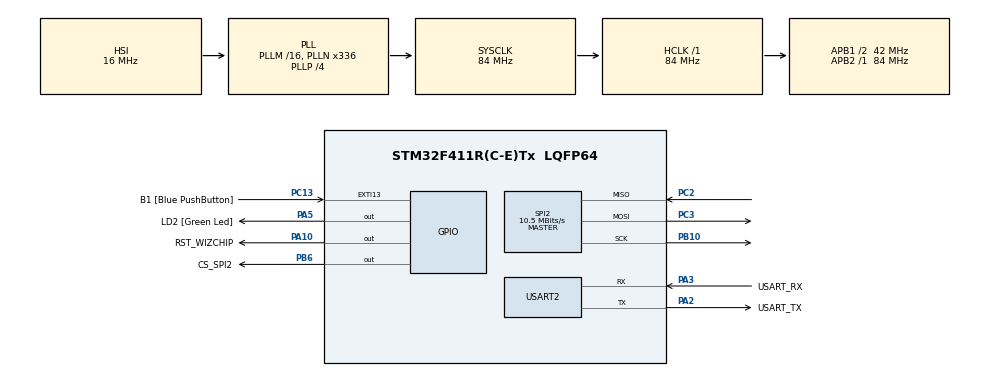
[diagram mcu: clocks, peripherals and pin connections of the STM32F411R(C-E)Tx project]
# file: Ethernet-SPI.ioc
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Mcu.Family=STM32F4
Mcu.Name=STM32F411R(C-E)Tx
Mcu.Package=LQFP64
NVIC.PriorityGroup=NVIC_PRIORITYGROUP_0
PA10.GPIO_Label=RST_WIZCHIP
PA10.Signal=GPIO_Output
PA13.GPIO_Label=TMS
PA13.Mode=Serial_Wire
PA13.Signal=SYS_JTMS-SWDIO
PA14.GPIO_Label=TCK
PA14.Mode=Serial_Wire
PA14.Signal=SYS_JTCK-SWCLK
PA2.GPIO_Label=USART_TX
PA2.Mode=Asynchronous
PA2.Signal=USART2_TX
PA3.GPIO_Label=USART_RX
PA3.Mode=Asynchronous
PA3.Signal=USART2_RX
PA5.GPIO_Label=LD2 [Green Led]
PA5.Signal=GPIO_Output
PB10.Mode=Full_Duplex_Master
PB10.Signal=SPI2_SCK
PB3.GPIO_Label=SWO
PB3.Signal=SYS_JTDO-SWO
PB6.GPIO_Label=CS_SPI2
PB6.PinState=GPIO_PIN_SET
PB6.Signal=GPIO_Output
PC13-ANTI_TAMP.GPIO_Label=B1 [Blue PushButton]
PC13-ANTI_TAMP.GPIO_ModeDefaultEXTI=GPIO_MODE_IT_FALLING
PC13-ANTI_TAMP.Signal=GPXTI13
PC14-OSC32_IN.Mode=LSE-External-Oscillator
PC14-OSC32_IN.Signal=RCC_OSC32_IN
PC15-OSC32_OUT.Mode=LSE-External-Oscillator
PC15-OSC32_OUT.Signal=RCC_OSC32_OUT
PC2.Mode=Full_Duplex_Master
PC2.Signal=SPI2_MISO
PC3.Mode=Full_Duplex_Master
PC3.Signal=SPI2_MOSI
PH0\ -\ OSC_IN.Mode=HSE-External-Clock-Source
PH0\ -\ OSC_IN.Signal=RCC_OSC_IN
PH1\ -\ OSC_OUT.Mode=HSE-External-Clock-Source
PH1\ -\ OSC_OUT.Signal=RCC_OSC_OUT
ProjectManager.HeapSize=0x200
ProjectManager.StackSize=0x400
ProjectManager.TargetToolchain=STM32CubeIDE
RCC.48MHZClocksFreq_Value=84000000
RCC.AHBFreq_Value=84000000
RCC.APB1CLKDivider=RCC_HCLK_DIV2
RCC.APB1Freq_Value=42000000
RCC.APB1TimFreq_Value=84000000
RCC.APB2Freq_Value=84000000
RCC.APB2TimFreq_Value=84000000
RCC.CortexFreq_Value=84000000
RCC.FLatency-AdvancedSettings=FLASH_LATENCY_2
RCC.HCLKFreq_Value=84000000
RCC.HSE_VALUE=8000000
RCC.HSI_VALUE=16000000
RCC.PLLN=336
RCC.PLLP=RCC_PLLP_DIV4
RCC.SYSCLKFreq_VALUE=84000000
RCC.SYSCLKSource=RCC_SYSCLKSOURCE_PLLCLK
RCC.VCOOutputFreq_Value=336000000
SPI2.BaudRatePrescaler=SPI_BAUDRATEPRESCALER_4
SPI2.CalculateBaudRate=10.5 MBits/s
SPI2.Direction=SPI_DIRECTION_2LINES
SPI2.Mode=SPI_MODE_MASTER
SPI2.VirtualType=VM_MASTER
USART2.VirtualMode=VM_ASYNC
VP_IWDG_VS_IWDG.Mode=IWDG_Activate
board=NUCLEO-F411RE

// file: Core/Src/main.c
/* USER CODE BEGIN Header */
/**
  ******************************************************************************
  * @file           : main.c
  * @brief          : Main program body
  ******************************************************************************
  * @attention
  *
  * Copyright (c) 2023 STMicroelectronics.
  * All rights reserved.
  *
  * This software is licensed under terms that can be found in the LICENSE file
  * in the root directory of this software component.
  * If no LICENSE file comes with this software, it is provided AS-IS.
  *
  ******************************************************************************
  */
/* USER CODE END Header */
#include "main.h"
#include "iwdg.h"
#include "spi.h"
#include "usart.h"
#include "gpio.h"

/* USER CODE BEGIN Includes */
#include "wiznet.h"
#include "w5500.h"
#include "socket.h"
#include "wizchip_conf.h"
#include <stdio.h>
#include <string.h>
/* USER CODE END Includes */

void SystemClock_Config(void);

int main(void)
{
  /* USER CODE BEGIN 1 */
	uint8_t mySocket;
	uint8_t memsize[2][8] = {{2,2,2,2,2,2,2,2},{2,2,2,2,2,2,2,2}}; // 2 sockets of 2kb each
	wiz_NetInfo netInfo = {
			.ip = {192,168,1,100},
			.mac = {0xEA, 0x11, 0x22, 0x33, 0x44, 0xEA },
			.sn = {255,255,255,0},
			.gw = {192,168,1,1},
			.dns = {8,8,8,8},
			.dhcp = NETINFO_STATIC
	};

	uint8_t state = 0;
	uint8_t rxBuff[50];
	uint8_t txBuff[50];
	int32_t err_t;
	int32_t dataSize = 0;
	uint16_t port;
	size_t len;
	uint8_t serverStatus;
	intr_kind interrupt;

  /* USER CODE END 1 */

  /* MCU Configuration--------------------------------------------------------*/

  /* Reset of all peripherals, Initializes the Flash interface and the Systick. */
  HAL_Init();

  /* Configure the system clock */
  SystemClock_Config();

  /* Initialize all configured peripherals */
  MX_GPIO_Init();
  MX_USART2_UART_Init();
  MX_SPI2_Init();
  MX_IWDG_Init();
  /* USER CODE BEGIN 2 */
  // Pulse on reset pin
  HAL_GPIO_WritePin(RST_WIZCHIP_GPIO_Port, RST_WIZCHIP_Pin, GPIO_PIN_RESET);
  HAL_Delay(1); //wait 1 ms
  HAL_GPIO_WritePin(RST_WIZCHIP_GPIO_Port, RST_WIZCHIP_Pin, GPIO_PIN_SET);

  // Wizchip functions assignement
  reg_wizchip_cs_cbfunc(wizchip_select, wizchip_deselect);
  reg_wizchip_spi_cbfunc(wizchip_readByte, wizchip_writeByte);
  reg_wizchip_spiburst_cbfunc(wizchip_readBuff, wizchip_writeBuff);

  // Wizchip initialization
  if(ctlwizchip(CW_INIT_WIZCHIP, (void *) memsize) == -1){
  	// Error during initialization
  	printf("WIZCHIP init failed...\r\n");
  	while(1);
  }

  // No errors during initialization
  printf("WIZCHIP initialized...\r\n");

  if(ctlnetwork(CN_SET_NETINFO, (void *)&netInfo) == -1){
  	// Errors
  	while(1);
  }

  // Set interrupt mask for recv
  interrupt = IK_SOCK_1;
  if(ctlwizchip(CW_SET_INTRMASK, (void *)&interrupt) == -1){
  	// Errors
  	while(1);
  }

  HAL_IWDG_Refresh(&hiwdg);

  // Create a socket
  mySocket = socket(1, Sn_MR_TCP, 502, 0);
  if(mySocket != 1){
  	// Error in socket creation
  	while(1);
  }

  // Listen socket for connections
  err_t = listen(mySocket);

  /* USER CODE END 2 */

  /* Infinite loop */
  while (1)
  {

    /* USER CODE BEGIN 3 */
  	// Check for server status
  	serverStatus = getSn_SR(mySocket);

  	switch(state){
  	case 0: // Wait for client connections

  		if(serverStatus == SOCK_ESTABLISHED){
  			HAL_GPIO_WritePin(LD2_GPIO_Port, LD2_Pin, GPIO_PIN_SET);
  			ctlnetwork(CN_GET_NETINFO, (void *) &netInfo);
  			port = getSn_PORT(mySocket);
  			display_netinfo(mySocket, &netInfo, port);
  			//send(mySocket, (uint8_t *)string, len);
  			state++;
  		}
  		break;
  	case 1: // Client has been connected
  		// Check for status
  		if(serverStatus == SOCK_CLOSE_WAIT){
  			// Reinit the connection
  			HAL_GPIO_WritePin(LD2_GPIO_Port, LD2_Pin, GPIO_PIN_RESET);
  			// Close the socket
  			close(mySocket);
  			state++;
  		}

  		// Check for incoming data
  		uint8_t intSocketRegister = getSn_IR(mySocket);
  		// Check for socket 1 RECV interrupt
  		if(intSocketRegister & (1<<2)){
  			// Interrupt occurred
  			dataSize = recv(mySocket, rxBuff, 50);

  			if(dataSize <= 0){
  				// Error
  				break;
  			}

  			memcpy(txBuff, rxBuff, dataSize);
  			if(send(mySocket, txBuff, dataSize) != dataSize){
  				// Something went wrong
  			  break;
  			}

  			// Clear interrupt register
  			intSocketRegister &= (1<<2);
  			setSn_IR(mySocket, intSocketRegister);
  		}

  		break;
  	case 2:
  		// Reinit the socket
  		mySocket = socket(1, Sn_MR_TCP, 502, 0);
  		if(mySocket != 1){
  		  // Error in socket creation
  		  while(1);
  		}

  		// Listen socket for connections
  		err_t = listen(mySocket);

  		state = 0;

  		break;
  	}

  	HAL_IWDG_Refresh(&hiwdg);
  }
  /* USER CODE END 3 */
}

void SystemClock_Config(void)
{
  RCC_OscInitTypeDef RCC_OscInitStruct = {0};
  RCC_ClkInitTypeDef RCC_ClkInitStruct = {0};

  /** Configure the main internal regulator output voltage
  */
  __HAL_RCC_PWR_CLK_ENABLE();
  __HAL_PWR_VOLTAGESCALING_CONFIG(PWR_REGULATOR_VOLTAGE_SCALE1);
  /** Initializes the RCC Oscillators according to the specified parameters
  * in the RCC_OscInitTypeDef structure.
  */
  RCC_OscInitStruct.OscillatorType = RCC_OSCILLATORTYPE_HSI|RCC_OSCILLATORTYPE_LSI;
  RCC_OscInitStruct.HSIState = RCC_HSI_ON;
  RCC_OscInitStruct.HSICalibrationValue = RCC_HSICALIBRATION_DEFAULT;
  RCC_OscInitStruct.LSIState = RCC_LSI_ON;
  RCC_OscInitStruct.PLL.PLLState = RCC_PLL_ON;
  RCC_OscInitStruct.PLL.PLLSource = RCC_PLLSOURCE_HSI;
  RCC_OscInitStruct.PLL.PLLM = 16;
  RCC_OscInitStruct.PLL.PLLN = 336;
  RCC_OscInitStruct.PLL.PLLP = RCC_PLLP_DIV4;
  RCC_OscInitStruct.PLL.PLLQ = 4;
  if (HAL_RCC_OscConfig(&RCC_OscInitStruct) != HAL_OK)
  {
    Error_Handler();
  }
  /** Initializes the CPU, AHB and APB buses clocks
  */
  RCC_ClkInitStruct.ClockType = RCC_CLOCKTYPE_HCLK|RCC_CLOCKTYPE_SYSCLK
                              |RCC_CLOCKTYPE_PCLK1|RCC_CLOCKTYPE_PCLK2;
  RCC_ClkInitStruct.SYSCLKSource = RCC_SYSCLKSOURCE_PLLCLK;
  RCC_ClkInitStruct.AHBCLKDivider = RCC_SYSCLK_DIV1;
  RCC_ClkInitStruct.APB1CLKDivider = RCC_HCLK_DIV2;
  RCC_ClkInitStruct.APB2CLKDivider = RCC_HCLK_DIV1;

  if (HAL_RCC_ClockConfig(&RCC_ClkInitStruct, FLASH_LATENCY_2) != HAL_OK)
  {
    Error_Handler();
  }
}

void Error_Handler(void)
{
  __disable_irq();
  while (1)
  {
  }
}
